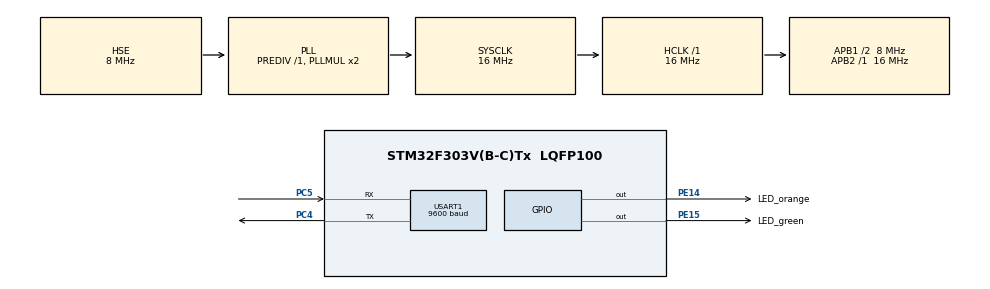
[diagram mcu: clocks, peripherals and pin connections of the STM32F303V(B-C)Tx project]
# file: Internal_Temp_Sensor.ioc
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ADC1.Channel-0\#ChannelRegularConversion=ADC_CHANNEL_TEMPSENSOR
ADC1.NbrOfConversionFlag=1
ADC1.Offset-0\#ChannelRegularConversion=0
ADC1.OffsetNumber-0\#ChannelRegularConversion=ADC_OFFSET_NONE
ADC1.Rank-0\#ChannelRegularConversion=1
ADC1.SamplingTime-0\#ChannelRegularConversion=ADC_SAMPLETIME_1CYCLE_5
ADC1.SamplingTimeOPAMP-0\#ChannelRegularConversion=ADC_SAMPLETIME_61CYCLES_5
ADC1.master=1
FREERTOS.Tasks01=defaultTask,24,128,StartDefaultTask,Default,NULL,Dynamic,NULL,NULL;myUARTsend,8,128,StartUARTsend,Default,NULL,Dynamic,NULL,NULL;myADC,8,128,StartADC,Default,NULL,Dynamic,NULL,NULL
Mcu.Family=STM32F3
Mcu.Name=STM32F303V(B-C)Tx
Mcu.Package=LQFP100
NVIC.PriorityGroup=NVIC_PRIORITYGROUP_4
NVIC.RCC_IRQn=true\:5\:0\:false\:false\:true\:true\:true\:false
NVIC.TIM3_IRQn=true\:15\:0\:false\:false\:true\:false\:false\:true
NVIC.TimeBase=TIM3_IRQn
NVIC.TimeBaseIP=TIM3
PA13.Mode=Serial_Wire
PA13.Signal=SYS_JTMS-SWDIO
PA14.Mode=Serial_Wire
PA14.Signal=SYS_JTCK-SWCLK
PC4.Mode=Asynchronous
PC4.Signal=USART1_TX
PC5.Mode=Asynchronous
PC5.Signal=USART1_RX
PE14.GPIO_Label=LED_orange
PE14.GPIO_ModeDefaultOutputPP=GPIO_MODE_OUTPUT_PP
PE14.GPIO_PuPd=GPIO_PULLDOWN
PE14.Signal=GPIO_Output
PE15.GPIO_Label=LED_green
PE15.GPIO_PuPd=GPIO_PULLDOWN
PE15.Signal=GPIO_Output
PF0-OSC_IN.Mode=HSE-External-Oscillator
PF0-OSC_IN.Signal=RCC_OSC_IN
PF1-OSC_OUT.Mode=HSE-External-Oscillator
PF1-OSC_OUT.Signal=RCC_OSC_OUT
ProjectManager.HeapSize=0x200
ProjectManager.StackSize=0x400
ProjectManager.TargetToolchain=STM32CubeIDE
RCC.AHBFreq_Value=16000000
RCC.APB1CLKDivider=RCC_HCLK_DIV2
RCC.APB1Freq_Value=8000000
RCC.APB1TimFreq_Value=16000000
RCC.APB2Freq_Value=16000000
RCC.APB2TimFreq_Value=16000000
RCC.CortexFreq_Value=16000000
RCC.HCLKFreq_Value=16000000
RCC.HSE_VALUE=8000000
RCC.HSI_VALUE=8000000
RCC.LSE_VALUE=32768
RCC.PLLSourceVirtual=RCC_PLLSOURCE_HSE
RCC.SYSCLKFreq_VALUE=16000000
RCC.SYSCLKSourceVirtual=RCC_SYSCLKSOURCE_PLLCLK
RCC.USBFreq_Value=16000000
USART1.BaudRate=9600
USART1.VirtualMode-Asynchronous=VM_ASYNC
VP_ADC1_TempSens_Input.Mode=IN-TempSens
VP_FREERTOS_VS_CMSIS_V2.Mode=CMSIS_V2
VP_SYS_VS_tim3.Mode=TIM3
board=custom

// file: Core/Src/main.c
/* USER CODE BEGIN Header */
/**
  ******************************************************************************
  * @file           : main.c
  * @brief          : Main program body
  ******************************************************************************
  * @attention
  *
  * Copyright (c) 2022 STMicroelectronics.
  * All rights reserved.
  *
  * This software is licensed under terms that can be found in the LICENSE file
  * in the root directory of this software component.
  * If no LICENSE file comes with this software, it is provided AS-IS.
  *
  ******************************************************************************
  */
/* USER CODE END Header */
#include "main.h"
#include "cmsis_os.h"

/* USER CODE BEGIN Includes */
#include "stdlib.h"
#include "ring_buffer.h"
/* USER CODE END Includes */

ADC_HandleTypeDef hadc1;

UART_HandleTypeDef huart1;

/* Definitions for defaultTask */
osThreadId_t defaultTaskHandle;
const osThreadAttr_t defaultTask_attributes = {
  .name = "defaultTask",
  .stack_size = 128 * 4,
  .priority = (osPriority_t) osPriorityNormal,
};
/* Definitions for myUARTsend */
osThreadId_t myUARTsendHandle;
const osThreadAttr_t myUARTsend_attributes = {
  .name = "myUARTsend",
  .stack_size = 128 * 4,
  .priority = (osPriority_t) osPriorityLow,
};
/* Definitions for myADC */
osThreadId_t myADCHandle;
const osThreadAttr_t myADC_attributes = {
  .name = "myADC",
  .stack_size = 128 * 4,
  .priority = (osPriority_t) osPriorityLow,
};

void SystemClock_Config(void);
static void MX_GPIO_Init(void);
static void MX_ADC1_Init(void);
static void MX_USART1_UART_Init(void);
void StartDefaultTask(void *argument);
void StartUARTsend(void *argument);
void StartADC(void *argument);

int main(void)
{

  /* MCU Configuration--------------------------------------------------------*/

  /* Reset of all peripherals, Initializes the Flash interface and the Systick. */
  HAL_Init();

  /* Configure the system clock */
  SystemClock_Config();

  /* Initialize all configured peripherals */
  MX_GPIO_Init();
  MX_ADC1_Init();
  MX_USART1_UART_Init();
  /* USER CODE BEGIN 2 */
  ring_buffer_init(&UART_buffer); // Иницилизация кольцевого буффера для отправки данных по UART
  /* USER CODE END 2 */

  /* Init scheduler */
  osKernelInitialize();

  /* Create the thread(s) */
  /* creation of defaultTask */
  defaultTaskHandle = osThreadNew(StartDefaultTask, NULL, &defaultTask_attributes);

  /* creation of myUARTsend */
  myUARTsendHandle = osThreadNew(StartUARTsend, NULL, &myUARTsend_attributes);

  /* creation of myADC */
  myADCHandle = osThreadNew(StartADC, NULL, &myADC_attributes);

  /* Start scheduler */
  osKernelStart();

  /* We should never get here as control is now taken by the scheduler */
  /* Infinite loop */
  while (1)
  {

  }
}

void SystemClock_Config(void)
{
  RCC_OscInitTypeDef RCC_OscInitStruct = {0};
  RCC_ClkInitTypeDef RCC_ClkInitStruct = {0};
  RCC_PeriphCLKInitTypeDef PeriphClkInit = {0};

  /** Initializes the RCC Oscillators according to the specified parameters
  * in the RCC_OscInitTypeDef structure.
  */
  RCC_OscInitStruct.OscillatorType = RCC_OSCILLATORTYPE_HSE;
  RCC_OscInitStruct.HSEState = RCC_HSE_ON;
  RCC_OscInitStruct.HSEPredivValue = RCC_HSE_PREDIV_DIV1;
  RCC_OscInitStruct.HSIState = RCC_HSI_ON;
  RCC_OscInitStruct.PLL.PLLState = RCC_PLL_ON;
  RCC_OscInitStruct.PLL.PLLSource = RCC_PLLSOURCE_HSE;
  RCC_OscInitStruct.PLL.PLLMUL = RCC_PLL_MUL2;
  if (HAL_RCC_OscConfig(&RCC_OscInitStruct) != HAL_OK)
  {
    Error_Handler();
  }
  /** Initializes the CPU, AHB and APB buses clocks
  */
  RCC_ClkInitStruct.ClockType = RCC_CLOCKTYPE_HCLK|RCC_CLOCKTYPE_SYSCLK
                              |RCC_CLOCKTYPE_PCLK1|RCC_CLOCKTYPE_PCLK2;
  RCC_ClkInitStruct.SYSCLKSource = RCC_SYSCLKSOURCE_PLLCLK;
  RCC_ClkInitStruct.AHBCLKDivider = RCC_SYSCLK_DIV1;
  RCC_ClkInitStruct.APB1CLKDivider = RCC_HCLK_DIV2;
  RCC_ClkInitStruct.APB2CLKDivider = RCC_HCLK_DIV1;

  if (HAL_RCC_ClockConfig(&RCC_ClkInitStruct, FLASH_LATENCY_0) != HAL_OK)
  {
    Error_Handler();
  }
  PeriphClkInit.PeriphClockSelection = RCC_PERIPHCLK_USART1|RCC_PERIPHCLK_ADC12;
  PeriphClkInit.Usart1ClockSelection = RCC_USART1CLKSOURCE_PCLK2;
  PeriphClkInit.Adc12ClockSelection = RCC_ADC12PLLCLK_DIV1;
  if (HAL_RCCEx_PeriphCLKConfig(&PeriphClkInit) != HAL_OK)
  {
    Error_Handler();
  }
}

static void MX_ADC1_Init(void)
{

  ADC_MultiModeTypeDef multimode = {0};
  ADC_ChannelConfTypeDef sConfig = {0};

  /** Common config
  */
  hadc1.Instance = ADC1;
  hadc1.Init.ClockPrescaler = ADC_CLOCK_ASYNC_DIV1;
  hadc1.Init.Resolution = ADC_RESOLUTION_12B;
  hadc1.Init.ScanConvMode = ADC_SCAN_DISABLE;
  hadc1.Init.ContinuousConvMode = DISABLE;
  hadc1.Init.DiscontinuousConvMode = DISABLE;
  hadc1.Init.ExternalTrigConvEdge = ADC_EXTERNALTRIGCONVEDGE_NONE;
  hadc1.Init.ExternalTrigConv = ADC_SOFTWARE_START;
  hadc1.Init.DataAlign = ADC_DATAALIGN_RIGHT;
  hadc1.Init.NbrOfConversion = 1;
  hadc1.Init.DMAContinuousRequests = DISABLE;
  hadc1.Init.EOCSelection = ADC_EOC_SINGLE_CONV;
  hadc1.Init.LowPowerAutoWait = DISABLE;
  hadc1.Init.Overrun = ADC_OVR_DATA_OVERWRITTEN;
  if (HAL_ADC_Init(&hadc1) != HAL_OK)
  {
    Error_Handler();
  }
  /** Configure the ADC multi-mode
  */
  multimode.Mode = ADC_MODE_INDEPENDENT;
  if (HAL_ADCEx_MultiModeConfigChannel(&hadc1, &multimode) != HAL_OK)
  {
    Error_Handler();
  }
  /** Configure Regular Channel
  */
  sConfig.Channel = ADC_CHANNEL_TEMPSENSOR;
  sConfig.Rank = ADC_REGULAR_RANK_1;
  sConfig.SingleDiff = ADC_SINGLE_ENDED;
  sConfig.SamplingTime = ADC_SAMPLETIME_1CYCLE_5;
  sConfig.OffsetNumber = ADC_OFFSET_NONE;
  sConfig.Offset = 0;
  if (HAL_ADC_ConfigChannel(&hadc1, &sConfig) != HAL_OK)
  {
    Error_Handler();
  }

}

static void MX_USART1_UART_Init(void)
{

  huart1.Instance = USART1;
  huart1.Init.BaudRate = 9600;
  huart1.Init.WordLength = UART_WORDLENGTH_8B;
  huart1.Init.StopBits = UART_STOPBITS_1;
  huart1.Init.Parity = UART_PARITY_NONE;
  huart1.Init.Mode = UART_MODE_TX_RX;
  huart1.Init.HwFlowCtl = UART_HWCONTROL_NONE;
  huart1.Init.OverSampling = UART_OVERSAMPLING_16;
  huart1.Init.OneBitSampling = UART_ONE_BIT_SAMPLE_DISABLE;
  huart1.AdvancedInit.AdvFeatureInit = UART_ADVFEATURE_NO_INIT;
  if (HAL_UART_Init(&huart1) != HAL_OK)
  {
    Error_Handler();
  }

}

static void MX_GPIO_Init(void)
{
  GPIO_InitTypeDef GPIO_InitStruct = {0};

  /* GPIO Ports Clock Enable */
  __HAL_RCC_GPIOF_CLK_ENABLE();
  __HAL_RCC_GPIOC_CLK_ENABLE();
  __HAL_RCC_GPIOE_CLK_ENABLE();
  __HAL_RCC_GPIOA_CLK_ENABLE();

  /*Configure GPIO pin Output Level */
  HAL_GPIO_WritePin(GPIOE, LED_orange_Pin|LED_green_Pin, GPIO_PIN_RESET);

  /*Configure GPIO pins : LED_orange_Pin LED_green_Pin */
  GPIO_InitStruct.Pin = LED_orange_Pin|LED_green_Pin;
  GPIO_InitStruct.Mode = GPIO_MODE_OUTPUT_PP;
  GPIO_InitStruct.Pull = GPIO_PULLDOWN;
  GPIO_InitStruct.Speed = GPIO_SPEED_FREQ_LOW;
  HAL_GPIO_Init(GPIOE, &GPIO_InitStruct);

}

void StartDefaultTask(void *argument)
{
  for(;;)
  {
    osDelay(1);
  }
}

void StartUARTsend(void *argument)
{
  /* USER CODE BEGIN StartUARTsend */
  /* Infinite loop */
  for(;;)
  {
     if(ring_buffer_check(&UART_buffer)) // Проверка: есть ли новые данные в кольцевом буфере
	 {
    	int16_t integer_data, fractional_data;
	  	uint8_t msg[40];

	  	float data_T = ring_buffer_read(&UART_buffer);
	  	integer_data = data_T;
	  	fractional_data = ((uint16_t)(abs(data_T*1000)))%1000;
	  	sprintf(msg, "board temperature = %i.%u\xB0\n", integer_data, fractional_data);
	  	HAL_UART_Transmit(&huart1, (uint8_t*)msg, strlen(msg), HAL_MAX_DELAY);
	 }
	 osDelay(1);
  }
  /* USER CODE END StartUARTsend */
}

void StartADC(void *argument)
{
  /* USER CODE BEGIN StartADC */
  /* Infinite loop */
  for(;;)
  {
	  float temp_float = 0;
	  int16_t temp_raw_data=0;

	  HAL_ADC_Start(&hadc1); // Запуск АЦП

	  if(HAL_ADC_PollForConversion(&hadc1, 100) == HAL_OK); // Ожидание завершения преобразования.
	  {
	     temp_raw_data = HAL_ADC_GetValue(&hadc1); // Считывание сырых данных с температурного датчика

	     /* Temperature (in °C) = {(V25 – VTS) / Avg_Slope} + 25 */
	     temp_float = (float)temp_raw_data/4096*V_REF;
		 temp_float = (T_25 - (temp_float))/AVG_SLOPE + 25;

		 ring_buffer_write(temp_float, &UART_buffer); // Запись данных в кольцевой буффер
	  }
	  HAL_ADC_Stop(&hadc1); // Остановка АЦП
      osDelay(30);
  }
  /* USER CODE END StartADC */
}

void HAL_TIM_PeriodElapsedCallback(TIM_HandleTypeDef *htim)
{
  if (htim->Instance == TIM3) {
    HAL_IncTick();
  }
}

void Error_Handler(void)
{
  __disable_irq();
  while (1)
  {
  }
}
